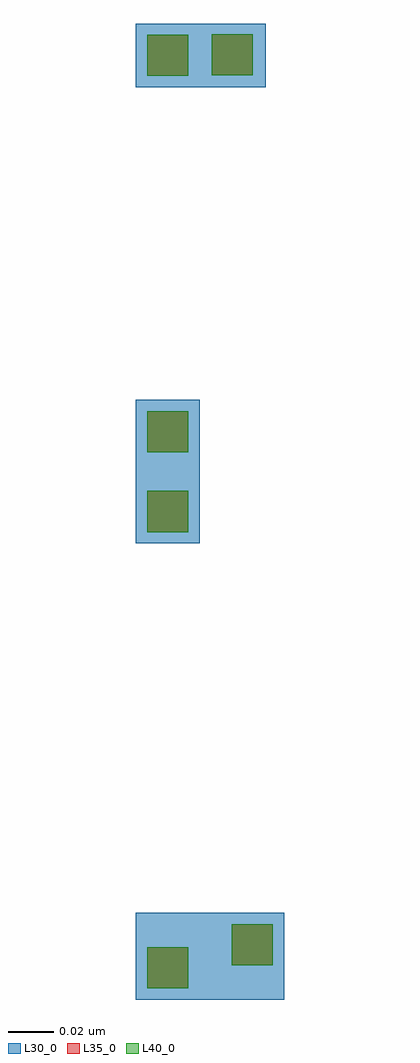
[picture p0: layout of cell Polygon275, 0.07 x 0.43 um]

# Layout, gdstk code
import gdstk
lib = gdstk.Library(unit=1e-6, precision=2.5e-10)
def R(c, l, rs):  # rectangles x0, y0, x1, y1
    for r in rs: c.add(gdstk.rectangle(r[:2], r[2:], *l))
L30_0 = (30, 0)
L35_0 = (35, 0)
L40_0 = (40, 0)

polygon275 = lib.new_cell('Polygon275')
R(polygon275, L30_0, [(-0.005,-0.005,0.06,0.033), (-0.005,0.195,0.023,0.258), (-0.005,0.395,0.052,0.423)])
R(polygon275, L35_0, [(0,0,0.018,0.018), (0.037,0.01,0.055,0.028), (0,0.2,0.018,0.218), (0,0.235,0.018,0.253), (0,0.4,0.018,0.418), (0.0283,0.4002,0.0462,0.4183)])
R(polygon275, L40_0, [(0,0,0.018,0.018), (0.037,0.01,0.055,0.028), (0,0.2,0.018,0.218), (0,0.235,0.018,0.253), (0,0.4,0.018,0.418), (0.0283,0.4002,0.0462,0.4183)])

lib.write_gds('Polygon275.gds')
